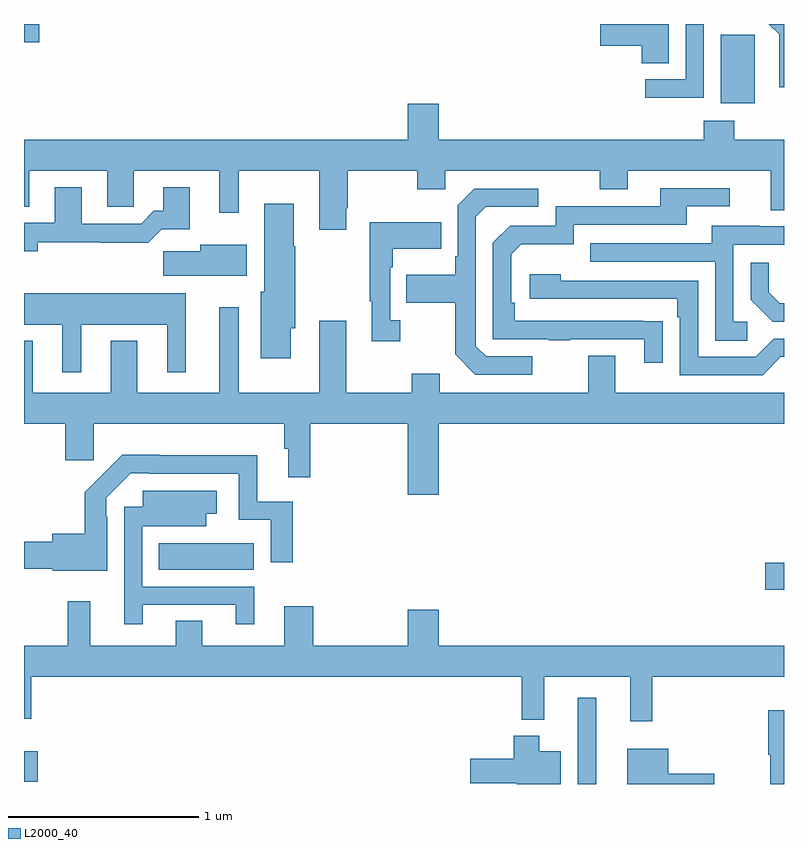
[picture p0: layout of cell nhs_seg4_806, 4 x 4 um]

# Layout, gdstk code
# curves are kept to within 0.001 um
import gdstk
lib = gdstk.Library(unit=1e-6, precision=1e-09)
def R(c, l, rs):  # rectangles x0, y0, x1, y1
    for r in rs: c.add(gdstk.rectangle(r[:2], r[2:], *l))
def P(c, l, *ps):  # polygons
    for p in ps: c.add(gdstk.Polygon(p, *l))
L2000_40 = (2000, 40)

nhs_seg4_806 = lib.new_cell('nhs_seg4_806')
R(nhs_seg4_806, L2000_40, [(153.915,818.9,154.012,819.355), (151,818.912,151.072,819.073), (154.902,819.922,155,820.064), (151.708,820.028,152.209,820.168), (154.667,822.482,154.846,822.843), (151,822.803,151.081,822.9)])
P(nhs_seg4_806, L2000_40, [(155,822.9),(154.92,822.9),(154.976,822.845),(154.976,822.722),(154.974,822.722),(154.974,822.568),(155,822.568)],
  [(154.578,822.9),(154.482,822.9),(154.482,822.609),(154.269,822.609),(154.269,822.511),(154.578,822.511)],
  [(154.393,822.9),(154.032,822.9),(154.032,822.785),(154.25,822.785),(154.25,822.694),(154.393,822.694)],
  [(152.695,821.929),(152.703,821.929),(152.703,822.128),(153.07,822.128),(153.07,822.029),(153.216,822.029),(153.216,822.128),(154.03,822.128),(154.03,822.029),(154.177,822.029),(154.177,822.128),(154.931,822.128),(154.931,821.92),(155,821.92),(155,822.292),(154.737,822.292),(154.737,822.391),(154.577,822.391),(154.577,822.292),(153.184,822.292),(153.184,822.481),(153.02,822.481),(153.02,822.292),(151,822.292),(151,821.939),(151.027,821.939),(151.027,822.128),(151.439,822.128),(151.439,821.938),(151.578,821.938),(151.578,822.128),(152.027,822.128),(152.027,821.907),(152.131,821.907),(152.131,822.128),(152.555,822.128),(152.555,821.817),(152.695,821.817)],
  [(151.072,821.752),(151.399,821.752),(151.399,821.75),(151.655,821.75),(151.724,821.819),(151.873,821.819),(151.873,822.04),(151.733,822.04),(151.733,821.917),(151.684,821.917),(151.617,821.85),(151.303,821.85),(151.303,822.04),(151.163,822.04),(151.163,821.853),(151,821.853),(151,821.705),(151.072,821.705)],
  [(154.361,821.336),(153.584,821.337),(153.584,821.434),(153.564,821.434),(153.564,821.688),(153.617,821.741),(153.894,821.741),(153.894,821.844),(154.489,821.844),(154.489,821.94),(154.714,821.94),(154.714,822.036),(154.349,822.036),(154.349,821.94),(153.798,821.94),(153.798,821.838),(153.558,821.838),(153.468,821.748),(153.468,821.241),(153.763,821.241),(153.763,821.236),(153.875,821.236),(153.875,821.241),(154.265,821.241),(154.265,821.118),(154.361,821.118)],
  [(153.676,821.151),(153.432,821.151),(153.378,821.205),(153.378,821.886),(153.429,821.937),(153.706,821.937),(153.706,822.033),(153.369,822.033),(153.282,821.946),(153.282,821.677),(153.27,821.677),(153.27,821.581),(153.013,821.581),(153.013,821.434),(153.27,821.434),(153.27,821.161),(153.375,821.055),(153.676,821.055)],
  [(152.404,821.298),(152.427,821.298),(152.427,821.729),(152.419,821.729),(152.419,821.953),(152.264,821.953),(152.264,821.49),(152.246,821.49),(152.246,821.142),(152.404,821.142)],
  [(152.98,821.342),(152.928,821.342),(152.928,821.621),(152.941,821.621),(152.941,821.717),(153.197,821.717),(153.197,821.857),(152.82,821.857),(152.82,821.441),(152.831,821.441),(152.831,821.229),(152.98,821.229)],
  [(154.807,821.334),(154.734,821.334),(154.734,821.739),(155,821.739),(155,821.835),(154.873,821.835),(154.873,821.839),(154.619,821.839),(154.619,821.745),(153.979,821.745),(153.979,821.649),(154.638,821.649),(154.638,821.233),(154.807,821.233)],
  [(152.173,821.737),(151.928,821.737),(151.928,821.705),(151.734,821.705),(151.734,821.576),(152.173,821.576)],
  [(155,821.43),(154.978,821.43),(154.921,821.487),(154.921,821.644),(154.824,821.644),(154.824,821.45),(154.94,821.334),(155,821.334)],
  [(154.983,821.148),(155,821.148),(155,821.244),(154.947,821.244),(154.851,821.148),(154.548,821.148),(154.548,821.55),(153.824,821.55),(153.824,821.584),(153.663,821.584),(153.663,821.454),(154.439,821.454),(154.439,821.357),(154.452,821.357),(154.452,821.052),(154.887,821.052)],
  [(151.3,821.318),(151.754,821.318),(151.754,821.067),(151.852,821.067),(151.852,821.482),(151,821.482),(151,821.318),(151.202,821.318),(151.202,821.067),(151.3,821.067)],
  [(153.184,820.796),(155,820.796),(155,820.96),(154.111,820.96),(154.111,821.155),(153.971,821.155),(153.971,820.96),(153.187,820.96),(153.187,821.059),(153.04,821.059),(153.04,820.96),(152.695,820.96),(152.695,821.338),(152.555,821.338),(152.555,820.96),(152.131,820.96),(152.131,821.41),(152.027,821.41),(152.027,820.96),(151.597,820.96),(151.597,821.233),(151.457,821.233),(151.457,820.96),(151.045,820.96),(151.045,821.233),(151,821.233),(151,820.796),(151.217,820.796),(151.217,820.605),(151.367,820.605),(151.367,820.796),(152.371,820.796),(152.371,820.664),(152.39,820.664),(152.39,820.515),(152.507,820.515),(152.507,820.796),(153.02,820.796),(153.02,820.422),(153.184,820.422)],
  [(151.437,820.307),(151.434,820.307),(151.434,820.407),(151.563,820.536),(151.663,820.536),(151.663,820.533),(152.13,820.533),(152.13,820.29),(152.298,820.29),(152.298,820.068),(152.414,820.068),(152.414,820.386),(152.227,820.386),(152.227,820.63),(151.715,820.63),(151.715,820.633),(151.516,820.633),(151.319,820.435),(151.319,820.216),(151.148,820.216),(151.148,820.175),(151,820.175),(151,820.033),(151.152,820.033),(151.152,820.022),(151.437,820.022)],
  [(151.624,819.843),(152.114,819.843),(152.114,819.741),(152.212,819.741),(152.212,819.939),(151.623,819.939),(151.623,820.256),(151.96,820.256),(151.96,820.322),(152.014,820.322),(152.014,820.444),(151.626,820.444),(151.626,820.359),(151.527,820.359),(151.527,819.741),(151.624,819.741)],
  [(154.307,819.464),(155,819.464),(155,819.628),(153.184,819.628),(153.184,819.817),(153.02,819.817),(153.02,819.628),(152.522,819.628),(152.522,819.835),(152.369,819.835),(152.369,819.628),(151.939,819.628),(151.939,819.758),(151.799,819.758),(151.799,819.628),(151.349,819.628),(151.349,819.862),(151.231,819.862),(151.231,819.628),(151,819.628),(151,819.243),(151.039,819.243),(151.039,819.464),(153.619,819.464),(153.619,819.239),(153.737,819.239),(153.737,819.464),(154.19,819.464),(154.19,819.231),(154.307,819.231)],
  [(155,819.289),(154.916,819.289),(154.916,819.055),(154.928,819.055),(154.928,818.9),(155,818.9)],
  [(153.826,819.073),(153.712,819.073),(153.712,819.154),(153.578,819.154),(153.578,819.033),(153.348,819.033),(153.348,818.903),(153.594,818.903),(153.594,818.9),(153.826,818.9)],
  [(154.633,818.954),(154.39,818.954),(154.39,819.085),(154.175,819.085),(154.175,818.9),(154.633,818.9)])

lib.write_gds('nhs_seg4_806.gds')
